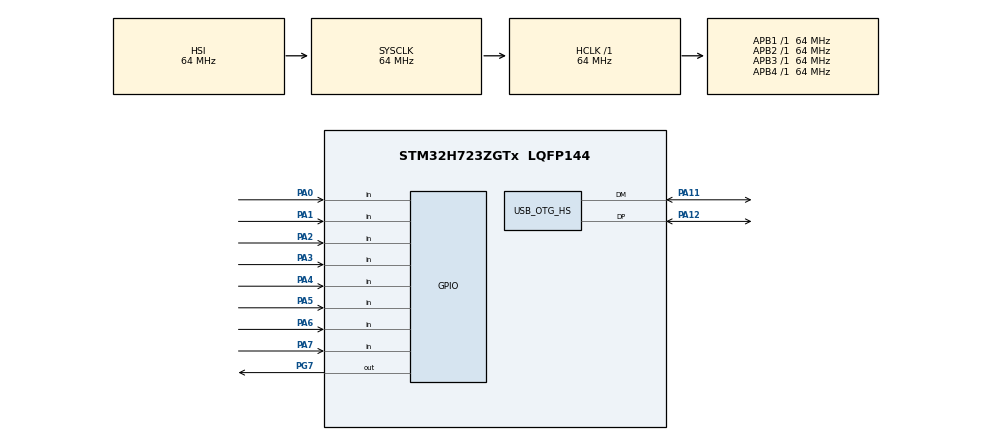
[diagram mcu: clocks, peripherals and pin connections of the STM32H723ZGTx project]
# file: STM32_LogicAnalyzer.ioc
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CORTEX_M7.default_mode_Activation=1
Dma.Request0=TIM1_UP
Dma.TIM1_UP.0.Direction=DMA_PERIPH_TO_MEMORY
Dma.TIM1_UP.0.EventEnable=DISABLE
Dma.TIM1_UP.0.FIFOMode=DMA_FIFOMODE_DISABLE
Dma.TIM1_UP.0.Instance=DMA1_Stream0
Dma.TIM1_UP.0.MemDataAlignment=DMA_MDATAALIGN_WORD
Dma.TIM1_UP.0.MemInc=DMA_MINC_ENABLE
Dma.TIM1_UP.0.Mode=DMA_NORMAL
Dma.TIM1_UP.0.PeriphDataAlignment=DMA_PDATAALIGN_WORD
Dma.TIM1_UP.0.PeriphInc=DMA_PINC_DISABLE
Dma.TIM1_UP.0.Polarity=HAL_DMAMUX_REQ_GEN_RISING
Dma.TIM1_UP.0.Priority=DMA_PRIORITY_LOW
Dma.TIM1_UP.0.RequestNumber=1
Dma.TIM1_UP.0.SignalID=NONE
Dma.TIM1_UP.0.SyncEnable=DISABLE
Dma.TIM1_UP.0.SyncPolarity=HAL_DMAMUX_SYNC_NO_EVENT
Dma.TIM1_UP.0.SyncRequestNumber=1
Dma.TIM1_UP.0.SyncSignalID=NONE
Mcu.Family=STM32H7
Mcu.Name=STM32H723ZGTx
Mcu.Package=LQFP144
NVIC.DMA1_Stream0_IRQn=true\:0\:0\:false\:false\:true\:false\:true\:true
NVIC.OTG_HS_IRQn=true\:0\:0\:false\:false\:true\:true\:true\:true
NVIC.PriorityGroup=NVIC_PRIORITYGROUP_4
NVIC.TIM1_UP_IRQn=true\:0\:0\:false\:false\:true\:true\:true\:true
PA0.Signal=GPIO_Input
PA1.Signal=GPIO_Input
PA11.Mode=Device_Only_FS
PA11.Signal=USB_OTG_HS_DM
PA12.Mode=Device_Only_FS
PA12.Signal=USB_OTG_HS_DP
PA2.Signal=GPIO_Input
PA3.Signal=GPIO_Input
PA4.Signal=GPIO_Input
PA5.Signal=GPIO_Input
PA6.Signal=GPIO_Input
PA7.Signal=GPIO_Input
PG7.Signal=GPIO_Output
ProjectManager.HeapSize=0x200
ProjectManager.StackSize=0x400
ProjectManager.TargetToolchain=STM32CubeIDE
RCC.ADCFreq_Value=129000000
RCC.APB1Freq_Value=64000000
RCC.APB2Freq_Value=64000000
RCC.APB3Freq_Value=64000000
RCC.APB4Freq_Value=64000000
RCC.CortexFreq_Value=64000000
RCC.HCLKFreq_Value=64000000
RCC.SYSCLKFreq_VALUE=64000000
RCC.USBCLockSelection=RCC_USBCLKSOURCE_HSI48
RCC.USBFreq_Value=48000000
TIM1.Prescaler=63
USB_DEVICE.CLASS_NAME_HS=CDC
USB_DEVICE.VirtualMode=Cdc
USB_DEVICE.VirtualModeHS=Cdc_HS
USB_OTG_HS.VirtualMode-Device_Only_FS=Device_Only_FS
VP_MEMORYMAP_VS_MEMORYMAP.Mode=CurAppReg
VP_TIM1_VS_ClockSourceINT.Mode=Internal
VP_USB_DEVICE_VS_USB_DEVICE_CDC_HS.Mode=CDC_HS
board=custom

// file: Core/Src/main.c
/* USER CODE BEGIN Header */
/**
  ******************************************************************************
  * @file           : main.c
  * @brief          : Main program body
  ******************************************************************************
  * @attention
  *
  * Copyright (c) 2026 STMicroelectronics.
  * All rights reserved.
  *
  * This software is licensed under terms that can be found in the LICENSE file
  * in the root directory of this software component.
  * If no LICENSE file comes with this software, it is provided AS-IS.
  *
  ******************************************************************************
  */
/* USER CODE END Header */
#include "main.h"
#include "usb_device.h"

/* USER CODE BEGIN Includes */
#include <string.h>
#include "usbd_cdc_if.h"
/* USER CODE END Includes */

/* USER CODE BEGIN PD */
#define SAMPLE_COUNT 10
/* USER CODE END PD */

TIM_HandleTypeDef htim1;
DMA_HandleTypeDef hdma_tim1_up;

/* USER CODE BEGIN PV */

// Take 1000 samples of clocked input
//uint8_t sample[1000];
uint32_t sample[SAMPLE_COUNT];
uint8_t channels[SAMPLE_COUNT];

volatile uint8_t capture_done = 0;

/* USER CODE END PV */

void SystemClock_Config(void);
static void MPU_Config(void);
static void MX_GPIO_Init(void);
static void MX_DMA_Init(void);
static void MX_TIM1_Init(void);
/* USER CODE BEGIN PFP */
void DMATransferComplete(DMA_HandleTypeDef *hdma);
/* USER CODE END PFP */

int main(void)
{

  /* MPU Configuration--------------------------------------------------------*/
  MPU_Config();

  /* MCU Configuration--------------------------------------------------------*/

  /* Reset of all peripherals, Initializes the Flash interface and the Systick. */
  HAL_Init();

  /* Configure the system clock */
  SystemClock_Config();

  /* Initialize all configured peripherals */
  MX_GPIO_Init();
  MX_DMA_Init();
  MX_TIM1_Init();
  MX_USB_DEVICE_Init();
  /* USER CODE BEGIN 2 */

  HAL_DMA_RegisterCallback(&hdma_tim1_up, HAL_DMA_XFER_CPLT_CB_ID, &DMATransferComplete);
  TIM1->DIER |= TIM_DIER_UDE;
  HAL_DMA_Start_IT(&hdma_tim1_up, (uint32_t) &(GPIOA->IDR), (uint32_t) sample, SAMPLE_COUNT);
  HAL_TIM_Base_Start(&htim1);

  /* USER CODE END 2 */

  /* Infinite loop */

  /* USER CODE BEGIN WHILE */
  // Can't make 1-bit uint
  // ------------------------------------------------------------ Variables for GPIO Testing ----------------------------------------
//  uint8_t sample[1000];
//  uint8_t value;
//  uint32_t sample_index = 0;
// ---------------------------------------------------------------------------------------------------------------------------------
//  while (sample_index < 1000)
  while (1)
  {

	  if (capture_done) {

		  capture_done = 0;

		  for (int i = 0; i < SAMPLE_COUNT; i++){
			  // And to get only first 8-bits for 8 channels
			  channels[i] = sample[i] & 0xFF;
		  }
	  }

    /* USER CODE END WHILE */

  }
}

void SystemClock_Config(void)
{
  RCC_OscInitTypeDef RCC_OscInitStruct = {0};
  RCC_ClkInitTypeDef RCC_ClkInitStruct = {0};

  /** Supply configuration update enable
  */
  HAL_PWREx_ConfigSupply(PWR_LDO_SUPPLY);

  /** Configure the main internal regulator output voltage
  */
  __HAL_PWR_VOLTAGESCALING_CONFIG(PWR_REGULATOR_VOLTAGE_SCALE3);

  while(!__HAL_PWR_GET_FLAG(PWR_FLAG_VOSRDY)) {}

  /** Initializes the RCC Oscillators according to the specified parameters
  * in the RCC_OscInitTypeDef structure.
  */
  RCC_OscInitStruct.OscillatorType = RCC_OSCILLATORTYPE_HSI48|RCC_OSCILLATORTYPE_HSI;
  RCC_OscInitStruct.HSIState = RCC_HSI_DIV1;
  RCC_OscInitStruct.HSICalibrationValue = 64;
  RCC_OscInitStruct.HSI48State = RCC_HSI48_ON;
  RCC_OscInitStruct.PLL.PLLState = RCC_PLL_NONE;
  if (HAL_RCC_OscConfig(&RCC_OscInitStruct) != HAL_OK)
  {
    Error_Handler();
  }

  /** Initializes the CPU, AHB and APB buses clocks
  */
  RCC_ClkInitStruct.ClockType = RCC_CLOCKTYPE_HCLK|RCC_CLOCKTYPE_SYSCLK
                              |RCC_CLOCKTYPE_PCLK1|RCC_CLOCKTYPE_PCLK2
                              |RCC_CLOCKTYPE_D3PCLK1|RCC_CLOCKTYPE_D1PCLK1;
  RCC_ClkInitStruct.SYSCLKSource = RCC_SYSCLKSOURCE_HSI;
  RCC_ClkInitStruct.SYSCLKDivider = RCC_SYSCLK_DIV1;
  RCC_ClkInitStruct.AHBCLKDivider = RCC_HCLK_DIV1;
  RCC_ClkInitStruct.APB3CLKDivider = RCC_APB3_DIV1;
  RCC_ClkInitStruct.APB1CLKDivider = RCC_APB1_DIV1;
  RCC_ClkInitStruct.APB2CLKDivider = RCC_APB2_DIV1;
  RCC_ClkInitStruct.APB4CLKDivider = RCC_APB4_DIV1;

  if (HAL_RCC_ClockConfig(&RCC_ClkInitStruct, FLASH_LATENCY_1) != HAL_OK)
  {
    Error_Handler();
  }
}

static void MX_TIM1_Init(void)
{

  TIM_ClockConfigTypeDef sClockSourceConfig = {0};
  TIM_MasterConfigTypeDef sMasterConfig = {0};

  htim1.Instance = TIM1;
  htim1.Init.Prescaler = 63;
  htim1.Init.CounterMode = TIM_COUNTERMODE_UP;
  htim1.Init.Period = 65535;
  htim1.Init.ClockDivision = TIM_CLOCKDIVISION_DIV1;
  htim1.Init.RepetitionCounter = 0;
  htim1.Init.AutoReloadPreload = TIM_AUTORELOAD_PRELOAD_DISABLE;
  if (HAL_TIM_Base_Init(&htim1) != HAL_OK)
  {
    Error_Handler();
  }
  sClockSourceConfig.ClockSource = TIM_CLOCKSOURCE_INTERNAL;
  if (HAL_TIM_ConfigClockSource(&htim1, &sClockSourceConfig) != HAL_OK)
  {
    Error_Handler();
  }
  sMasterConfig.MasterOutputTrigger = TIM_TRGO_RESET;
  sMasterConfig.MasterOutputTrigger2 = TIM_TRGO2_RESET;
  sMasterConfig.MasterSlaveMode = TIM_MASTERSLAVEMODE_DISABLE;
  if (HAL_TIMEx_MasterConfigSynchronization(&htim1, &sMasterConfig) != HAL_OK)
  {
    Error_Handler();
  }

}

static void MX_DMA_Init(void)
{

  /* DMA controller clock enable */
  __HAL_RCC_DMA1_CLK_ENABLE();

  /* DMA interrupt init */
  /* DMA1_Stream0_IRQn interrupt configuration */
  HAL_NVIC_SetPriority(DMA1_Stream0_IRQn, 0, 0);
  HAL_NVIC_EnableIRQ(DMA1_Stream0_IRQn);

}

static void MX_GPIO_Init(void)
{
  GPIO_InitTypeDef GPIO_InitStruct = {0};

  /* GPIO Ports Clock Enable */
  __HAL_RCC_GPIOA_CLK_ENABLE();
  __HAL_RCC_GPIOG_CLK_ENABLE();

  /*Configure GPIO pin Output Level */
  HAL_GPIO_WritePin(GPIOG, GPIO_PIN_7, GPIO_PIN_RESET);

  /*Configure GPIO pins : PA0 PA1 PA2 PA3
                           PA4 PA5 PA6 PA7 */
  GPIO_InitStruct.Pin = GPIO_PIN_0|GPIO_PIN_1|GPIO_PIN_2|GPIO_PIN_3
                          |GPIO_PIN_4|GPIO_PIN_5|GPIO_PIN_6|GPIO_PIN_7;
  GPIO_InitStruct.Mode = GPIO_MODE_INPUT;
  GPIO_InitStruct.Pull = GPIO_NOPULL;
  HAL_GPIO_Init(GPIOA, &GPIO_InitStruct);

  /*Configure GPIO pin : PG7 */
  GPIO_InitStruct.Pin = GPIO_PIN_7;
  GPIO_InitStruct.Mode = GPIO_MODE_OUTPUT_PP;
  GPIO_InitStruct.Pull = GPIO_NOPULL;
  GPIO_InitStruct.Speed = GPIO_SPEED_FREQ_LOW;
  HAL_GPIO_Init(GPIOG, &GPIO_InitStruct);

}

/* USER CODE BEGIN 4 */
void DMATransferComplete(DMA_HandleTypeDef *hdma) {

	// Disable DMA mode
	TIM1->DIER &= ~TIM_DIER_UDE;

	capture_done = 1;

	// Toggle LED
	HAL_GPIO_TogglePin(GPIOG, GPIO_PIN_7);
}
/* USER CODE END 4 */

 /* MPU Configuration */

void MPU_Config(void)
{
  MPU_Region_InitTypeDef MPU_InitStruct = {0};

  /* Disables the MPU */
  HAL_MPU_Disable();

  /** Initializes and configures the Region and the memory to be protected
  */
  MPU_InitStruct.Enable = MPU_REGION_ENABLE;
  MPU_InitStruct.Number = MPU_REGION_NUMBER0;
  MPU_InitStruct.BaseAddress = 0x0;
  MPU_InitStruct.Size = MPU_REGION_SIZE_4GB;
  MPU_InitStruct.SubRegionDisable = 0x87;
  MPU_InitStruct.TypeExtField = MPU_TEX_LEVEL0;
  MPU_InitStruct.AccessPermission = MPU_REGION_NO_ACCESS;
  MPU_InitStruct.DisableExec = MPU_INSTRUCTION_ACCESS_DISABLE;
  MPU_InitStruct.IsShareable = MPU_ACCESS_SHAREABLE;
  MPU_InitStruct.IsCacheable = MPU_ACCESS_NOT_CACHEABLE;
  MPU_InitStruct.IsBufferable = MPU_ACCESS_NOT_BUFFERABLE;

  HAL_MPU_ConfigRegion(&MPU_InitStruct);
  /* Enables the MPU */
  HAL_MPU_Enable(MPU_PRIVILEGED_DEFAULT);

}

void Error_Handler(void)
{
  __disable_irq();
  while (1)
  {
  }
}
